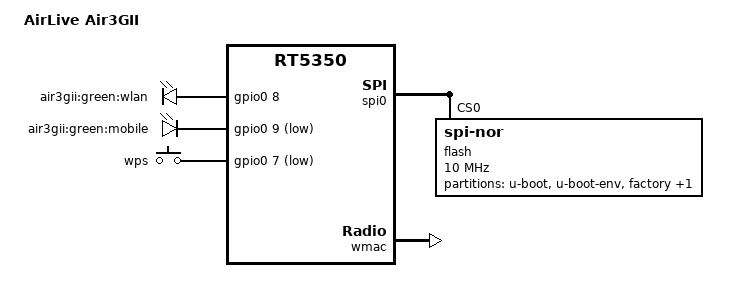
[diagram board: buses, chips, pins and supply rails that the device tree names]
/dts-v1/;

#include "rt5350.dtsi"

#include <dt-bindings/gpio/gpio.h>
#include <dt-bindings/input/input.h>

/ {
	compatible = "airlive,air3gii", "ralink,rt5350-soc";
	model = "AirLive Air3GII";

	leds {
		compatible = "gpio-leds";

		wlan {
			label = "air3gii:green:wlan";
			gpios = <&gpio0 8 GPIO_ACTIVE_HIGH>;
		};

		mobile {
			label = "air3gii:green:mobile";
			gpios = <&gpio0 9 GPIO_ACTIVE_LOW>;
			trigger-sources = <&ohci_port1>, <&ehci_port1>;
			linux,default-trigger = "usbport";
		};
	};

	keys {
		compatible = "gpio-keys-polled";
		poll-interval = <20>;

		wps {
			label = "wps";
			gpios = <&gpio0 7 GPIO_ACTIVE_LOW>;
			linux,code = <KEY_WPS_BUTTON>;
		};
	};
};

&gpio0 {
	status = "okay";
};

&spi0 {
	status = "okay";

	flash@0 {
		compatible = "jedec,spi-nor";
		reg = <0>;
		spi-max-frequency = <10000000>;

		partitions {
			compatible = "fixed-partitions";
			#address-cells = <1>;
			#size-cells = <1>;

			partition@0 {
				label = "u-boot";
				reg = <0x0 0x30000>;
				read-only;
			};

			partition@30000 {
				label = "u-boot-env";
				reg = <0x30000 0x10000>;
				read-only;
			};

			factory: partition@40000 {
				label = "factory";
				reg = <0x40000 0x10000>;
				read-only;
			};

			partition@50000 {
				compatible = "denx,uimage";
				label = "firmware";
				reg = <0x50000 0x3b0000>;
			};
		};
	};
};

&state_default {
	gpio {
		groups = "i2c", "jtag", "uartf";
		function = "gpio";
	};
};

&ethernet {
	mtd-mac-address = <&factory 0x4>;
};

&esw {
	mediatek,portmap = <0x2f>;
};

&wmac {
	ralink,mtd-eeprom = <&factory 0x0>;
};
